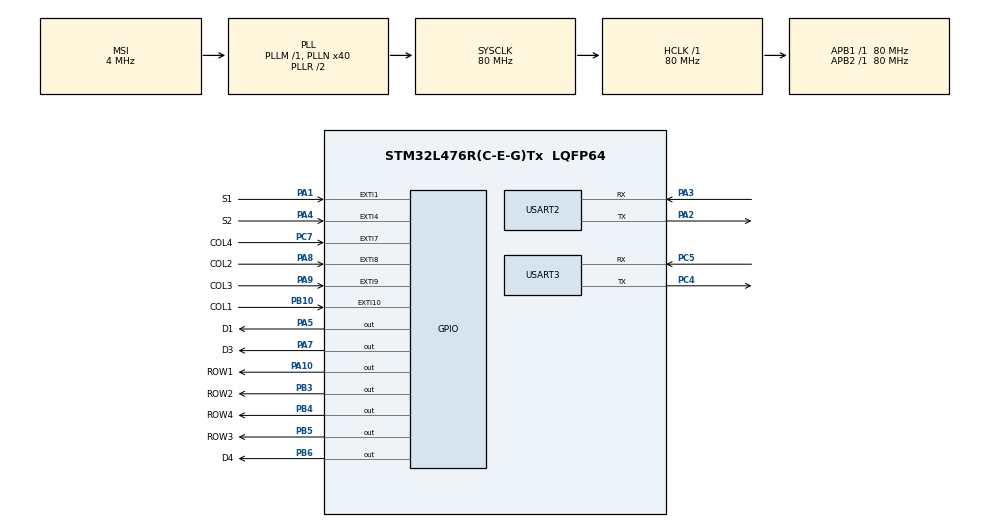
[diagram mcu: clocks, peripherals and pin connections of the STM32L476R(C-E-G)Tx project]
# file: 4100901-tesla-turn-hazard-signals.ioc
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Mcu.Family=STM32L4
Mcu.Name=STM32L476R(C-E-G)Tx
Mcu.Package=LQFP64
NVIC.EXTI15_10_IRQn=true\:0\:0\:false\:false\:true\:true\:true\:true
NVIC.EXTI1_IRQn=true\:0\:0\:false\:false\:true\:true\:true\:true
NVIC.EXTI4_IRQn=true\:0\:0\:false\:false\:true\:true\:true\:true
NVIC.EXTI9_5_IRQn=true\:0\:0\:false\:false\:true\:true\:true\:true
NVIC.PriorityGroup=NVIC_PRIORITYGROUP_4
NVIC.USART2_IRQn=true\:0\:0\:false\:false\:true\:true\:true\:true
NVIC.USART3_IRQn=true\:0\:0\:false\:false\:true\:true\:true\:true
PA1.GPIO_Label=S1
PA1.GPIO_ModeDefaultEXTI=GPIO_MODE_IT_FALLING
PA1.Signal=GPXTI1
PA10.GPIO_Label=ROW1
PA10.PinState=GPIO_PIN_SET
PA10.Signal=GPIO_Output
PA2.Mode=Asynchronous
PA2.Signal=USART2_TX
PA3.Mode=Asynchronous
PA3.Signal=USART2_RX
PA4.GPIO_Label=S2
PA4.GPIO_ModeDefaultEXTI=GPIO_MODE_IT_FALLING
PA4.Signal=GPXTI4
PA5.GPIO_Label=D1
PA5.PinState=GPIO_PIN_SET
PA5.Signal=GPIO_Output
PA7.GPIO_Label=D3
PA7.PinState=GPIO_PIN_SET
PA7.Signal=GPIO_Output
PA8.GPIO_Label=COL2
PA8.GPIO_ModeDefaultEXTI=GPIO_MODE_IT_RISING
PA8.GPIO_PuPd=GPIO_PULLDOWN
PA8.Signal=GPXTI8
PA9.GPIO_Label=COL3
PA9.GPIO_PuPd=GPIO_PULLDOWN
PA9.Signal=GPXTI9
PB10.GPIO_Label=COL1
PB10.GPIO_PuPd=GPIO_PULLDOWN
PB10.Signal=GPXTI10
PB3\ (JTDO-TRACESWO).GPIO_Label=ROW2
PB3\ (JTDO-TRACESWO).PinState=GPIO_PIN_SET
PB3\ (JTDO-TRACESWO).Signal=GPIO_Output
PB4\ (NJTRST).GPIO_Label=ROW4
PB4\ (NJTRST).PinState=GPIO_PIN_SET
PB4\ (NJTRST).Signal=GPIO_Output
PB5.GPIO_Label=ROW3
PB5.PinState=GPIO_PIN_SET
PB5.Signal=GPIO_Output
PB6.GPIO_Label=D4
PB6.PinState=GPIO_PIN_SET
PB6.Signal=GPIO_Output
PC4.Mode=Asynchronous
PC4.Signal=USART3_TX
PC5.Mode=Asynchronous
PC5.Signal=USART3_RX
PC7.GPIO_Label=COL4
PC7.GPIO_PuPd=GPIO_PULLDOWN
PC7.Signal=GPXTI7
ProjectManager.HeapSize=0x200
ProjectManager.StackSize=0x400
ProjectManager.TargetToolchain=STM32CubeIDE
RCC.AHBFreq_Value=80000000
RCC.APB1Freq_Value=80000000
RCC.APB1TimFreq_Value=80000000
RCC.APB2Freq_Value=80000000
RCC.APB2TimFreq_Value=80000000
RCC.CortexFreq_Value=80000000
RCC.HCLKFreq_Value=80000000
RCC.HSE_VALUE=8000000
RCC.HSI_VALUE=16000000
RCC.LSE_VALUE=32768
RCC.MSI_VALUE=4000000
RCC.PLLN=40
RCC.SYSCLKFreq_VALUE=80000000
RCC.SYSCLKSource=RCC_SYSCLKSOURCE_PLLCLK
RCC.VCOOutputFreq_Value=160000000
USART2.VirtualMode-Asynchronous=VM_ASYNC
USART3.VirtualMode-Asynchronous=VM_ASYNC
board=custom

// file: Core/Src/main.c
/* USER CODE BEGIN Header */
/**
  ******************************************************************************
  * @file           : main.c
  * @brief          : Main program body
  ******************************************************************************
  * @attention
  *
  * Copyright (c) 2024 STMicroelectronics.
  * All rights reserved.
  *
  * This software is licensed under terms that can be found in the LICENSE file
  * in the root directory of this software component.
  * If no LICENSE file comes with this software, it is provided AS-IS.
  *
  ******************************************************************************
  */
/* USER CODE END Header */
#include "main.h"

/* USER CODE BEGIN Includes */
#include "ring_buffer.h"
#include "keyboard.h"
/* USER CODE END Includes */

UART_HandleTypeDef huart2;
UART_HandleTypeDef huart3;

/* USER CODE BEGIN PV */
uint32_t left_toggles = 0;
uint32_t left_last_press_tick = 0;

uint8_t data_usart3;
uint8_t data_usart2;

/* control variables for ring buffer in USART1 */
#define CAPACITY_USART3 5
uint8_t mem_usart3[CAPACITY_USART3];
ring_buffer_t rb_usart3;

/* control variables for ring buffer in USART2 */
#define CAPACITY_USART2 10
uint8_t mem_usart2[CAPACITY_USART2];
ring_buffer_t rb_usart2;
/* USER CODE END PV */

void SystemClock_Config(void);
static void MX_GPIO_Init(void);
static void MX_USART2_UART_Init(void);
static void MX_USART3_UART_Init(void);
/* USER CODE BEGIN PFP */
void heartbeat(void);
/* USER CODE END PFP */

/* USER CODE BEGIN 0 */
void HAL_UART_RxCpltCallback(UART_HandleTypeDef *huart)
{
	/* Data received in USART1 */
	if (huart->Instance == USART3) {
		ring_buffer_write(&rb_usart3, data_usart3);
		HAL_UART_Receive_IT(&huart3, &data_usart3, 1);
	}

	/* Data received in USART2 */
	if (huart->Instance == USART2) {
		ring_buffer_write(&rb_usart2, data_usart2); // put the data received in buffer
		HAL_UART_Receive_IT(&huart2, &data_usart2, 1); // enable interrupt to continue receiving
	}
}

void HAL_GPIO_EXTI_Callback(uint16_t GPIO_Pin)
{
	static uint16_t last_pressed = 0xFFFF;
	static uint32_t last_tick = 0;
	if(last_pressed == GPIO_Pin){
		if(HAL_GetTick() < (last_tick+200)){
			return;
		}
	}
	last_pressed = GPIO_Pin;
	last_tick = HAL_GetTick();

	uint8_t pressed = keyboard(GPIO_Pin);
	HAL_UART_Transmit(&huart2,&pressed,1,10);
//	if (GPIO_Pin == S1_Pin) {
//		HAL_UART_Transmit(&huart2, (uint8_t *)"S1\r\n", 4, 10);
//		if (HAL_GetTick() < (left_last_press_tick + 300)) { // if last press was in the last 300ms
//			left_toggles = 0xFFFFFF; // a long time toggling (infinite)
//		} else {
//			left_toggles = 6;
//		}
//		left_last_press_tick = HAL_GetTick();
//	} else if (GPIO_Pin == S2_Pin) {
//		left_toggles = 0;
//	}
}

//void heartbeat(void)
//{
//	static uint32_t heartbeat_tick = 0;
//	if (heartbeat_tick < HAL_GetTick()) {
//		heartbeat_tick = HAL_GetTick() + 500;
//		HAL_GPIO_TogglePin(D1_GPIO_Port, D1_Pin);
//	}
//}
//
//void turn_signal_left(void)
//{
//	static uint32_t turn_toggle_tick = 0;
//	if (turn_toggle_tick < HAL_GetTick()) {
//		if (left_toggles > 0) {
//			turn_toggle_tick = HAL_GetTick() + 500;
//			HAL_GPIO_TogglePin(D3_GPIO_Port, D3_Pin);
//			left_toggles--;
//		} else {
//			HAL_GPIO_WritePin(D3_GPIO_Port, D3_Pin, 1);
//		}
//
//	}
//}
/* USER CODE END 0 */

int main(void)
{

  /* MCU Configuration--------------------------------------------------------*/

  /* Reset of all peripherals, Initializes the Flash interface and the Systick. */
  HAL_Init();

  /* Configure the system clock */
  SystemClock_Config();

  /* Initialize all configured peripherals */
  MX_GPIO_Init();
  MX_USART2_UART_Init();
  MX_USART3_UART_Init();
  /* USER CODE BEGIN 2 */
  /* Initialize ring buffer (control, memory, and capacity) */
  ring_buffer_init(&rb_usart3, mem_usart3, CAPACITY_USART3);
  ring_buffer_init(&rb_usart2, mem_usart2, CAPACITY_USART2);
  /* USER CODE END 2 */

  /* Infinite loop */
  /* USER CODE BEGIN WHILE */
  /* Enable USART Rx interrupt to start receiving */
  HAL_UART_Receive_IT(&huart3, &data_usart3, 1);
  HAL_UART_Receive_IT(&huart2, &data_usart2, 1);
  while (1)
  {
	  uint8_t byte = 0;
	  if (ring_buffer_is_full(&rb_usart2) != 0) {
		  int8_t id_incorrect = 0;
		  char my_id[] = "1056120378";
		  for (uint8_t idx = 0; idx < sizeof(my_id); idx++) {
			  if (ring_buffer_read(&rb_usart2, &byte) != 0) { // 0x20
				  if (byte != my_id[idx]) {
					  id_incorrect = 1;
				  }
			  }
		  }
		  if (id_incorrect == 0) {
			  HAL_UART_Transmit(&huart2, "Felipe F\r\n", 10, 10);
		  } else {
			  HAL_UART_Transmit(&huart2, "Error\r\n", 7, 10);
		  }
	  }
	  if (ring_buffer_is_empty(&rb_usart3) == 0) {
		  uint8_t data;
		  ring_buffer_read(&rb_usart3, &data);
		  HAL_UART_Transmit(&huart2, &data, 1, 10);
	  }
//	  heartbeat();
//	  turn_signal_left();
    /* USER CODE END WHILE */

  }
}

void SystemClock_Config(void)
{
  RCC_OscInitTypeDef RCC_OscInitStruct = {0};
  RCC_ClkInitTypeDef RCC_ClkInitStruct = {0};

  /** Configure the main internal regulator output voltage
  */
  if (HAL_PWREx_ControlVoltageScaling(PWR_REGULATOR_VOLTAGE_SCALE1) != HAL_OK)
  {
    Error_Handler();
  }

  /** Initializes the RCC Oscillators according to the specified parameters
  * in the RCC_OscInitTypeDef structure.
  */
  RCC_OscInitStruct.OscillatorType = RCC_OSCILLATORTYPE_MSI;
  RCC_OscInitStruct.MSIState = RCC_MSI_ON;
  RCC_OscInitStruct.MSICalibrationValue = 0;
  RCC_OscInitStruct.MSIClockRange = RCC_MSIRANGE_6;
  RCC_OscInitStruct.PLL.PLLState = RCC_PLL_ON;
  RCC_OscInitStruct.PLL.PLLSource = RCC_PLLSOURCE_MSI;
  RCC_OscInitStruct.PLL.PLLM = 1;
  RCC_OscInitStruct.PLL.PLLN = 40;
  RCC_OscInitStruct.PLL.PLLP = RCC_PLLP_DIV7;
  RCC_OscInitStruct.PLL.PLLQ = RCC_PLLQ_DIV2;
  RCC_OscInitStruct.PLL.PLLR = RCC_PLLR_DIV2;
  if (HAL_RCC_OscConfig(&RCC_OscInitStruct) != HAL_OK)
  {
    Error_Handler();
  }

  /** Initializes the CPU, AHB and APB buses clocks
  */
  RCC_ClkInitStruct.ClockType = RCC_CLOCKTYPE_HCLK|RCC_CLOCKTYPE_SYSCLK
                              |RCC_CLOCKTYPE_PCLK1|RCC_CLOCKTYPE_PCLK2;
  RCC_ClkInitStruct.SYSCLKSource = RCC_SYSCLKSOURCE_PLLCLK;
  RCC_ClkInitStruct.AHBCLKDivider = RCC_SYSCLK_DIV1;
  RCC_ClkInitStruct.APB1CLKDivider = RCC_HCLK_DIV1;
  RCC_ClkInitStruct.APB2CLKDivider = RCC_HCLK_DIV1;

  if (HAL_RCC_ClockConfig(&RCC_ClkInitStruct, FLASH_LATENCY_4) != HAL_OK)
  {
    Error_Handler();
  }
}

static void MX_USART2_UART_Init(void)
{

  huart2.Instance = USART2;
  huart2.Init.BaudRate = 115200;
  huart2.Init.WordLength = UART_WORDLENGTH_8B;
  huart2.Init.StopBits = UART_STOPBITS_1;
  huart2.Init.Parity = UART_PARITY_NONE;
  huart2.Init.Mode = UART_MODE_TX_RX;
  huart2.Init.HwFlowCtl = UART_HWCONTROL_NONE;
  huart2.Init.OverSampling = UART_OVERSAMPLING_16;
  huart2.Init.OneBitSampling = UART_ONE_BIT_SAMPLE_DISABLE;
  huart2.AdvancedInit.AdvFeatureInit = UART_ADVFEATURE_NO_INIT;
  if (HAL_UART_Init(&huart2) != HAL_OK)
  {
    Error_Handler();
  }

}

static void MX_USART3_UART_Init(void)
{

  huart3.Instance = USART3;
  huart3.Init.BaudRate = 115200;
  huart3.Init.WordLength = UART_WORDLENGTH_8B;
  huart3.Init.StopBits = UART_STOPBITS_1;
  huart3.Init.Parity = UART_PARITY_NONE;
  huart3.Init.Mode = UART_MODE_TX_RX;
  huart3.Init.HwFlowCtl = UART_HWCONTROL_NONE;
  huart3.Init.OverSampling = UART_OVERSAMPLING_16;
  huart3.Init.OneBitSampling = UART_ONE_BIT_SAMPLE_DISABLE;
  huart3.AdvancedInit.AdvFeatureInit = UART_ADVFEATURE_NO_INIT;
  if (HAL_UART_Init(&huart3) != HAL_OK)
  {
    Error_Handler();
  }

}

static void MX_GPIO_Init(void)
{
  GPIO_InitTypeDef GPIO_InitStruct = {0};

  /* GPIO Ports Clock Enable */
  __HAL_RCC_GPIOA_CLK_ENABLE();
  __HAL_RCC_GPIOC_CLK_ENABLE();
  __HAL_RCC_GPIOB_CLK_ENABLE();

  /*Configure GPIO pin Output Level */
  HAL_GPIO_WritePin(GPIOA, D1_Pin|D3_Pin|ROW1_Pin, GPIO_PIN_SET);

  /*Configure GPIO pin Output Level */
  HAL_GPIO_WritePin(GPIOB, ROW2_Pin|ROW4_Pin|ROW3_Pin|D4_Pin, GPIO_PIN_SET);

  /*Configure GPIO pins : S1_Pin S2_Pin */
  GPIO_InitStruct.Pin = S1_Pin|S2_Pin;
  GPIO_InitStruct.Mode = GPIO_MODE_IT_FALLING;
  GPIO_InitStruct.Pull = GPIO_NOPULL;
  HAL_GPIO_Init(GPIOA, &GPIO_InitStruct);

  /*Configure GPIO pins : D1_Pin D3_Pin ROW1_Pin */
  GPIO_InitStruct.Pin = D1_Pin|D3_Pin|ROW1_Pin;
  GPIO_InitStruct.Mode = GPIO_MODE_OUTPUT_PP;
  GPIO_InitStruct.Pull = GPIO_NOPULL;
  GPIO_InitStruct.Speed = GPIO_SPEED_FREQ_LOW;
  HAL_GPIO_Init(GPIOA, &GPIO_InitStruct);

  /*Configure GPIO pin : COL1_Pin */
  GPIO_InitStruct.Pin = COL1_Pin;
  GPIO_InitStruct.Mode = GPIO_MODE_IT_RISING;
  GPIO_InitStruct.Pull = GPIO_PULLDOWN;
  HAL_GPIO_Init(COL1_GPIO_Port, &GPIO_InitStruct);

  /*Configure GPIO pin : COL4_Pin */
  GPIO_InitStruct.Pin = COL4_Pin;
  GPIO_InitStruct.Mode = GPIO_MODE_IT_RISING;
  GPIO_InitStruct.Pull = GPIO_PULLDOWN;
  HAL_GPIO_Init(COL4_GPIO_Port, &GPIO_InitStruct);

  /*Configure GPIO pins : COL2_Pin COL3_Pin */
  GPIO_InitStruct.Pin = COL2_Pin|COL3_Pin;
  GPIO_InitStruct.Mode = GPIO_MODE_IT_RISING;
  GPIO_InitStruct.Pull = GPIO_PULLDOWN;
  HAL_GPIO_Init(GPIOA, &GPIO_InitStruct);

  /*Configure GPIO pins : ROW2_Pin ROW4_Pin ROW3_Pin D4_Pin */
  GPIO_InitStruct.Pin = ROW2_Pin|ROW4_Pin|ROW3_Pin|D4_Pin;
  GPIO_InitStruct.Mode = GPIO_MODE_OUTPUT_PP;
  GPIO_InitStruct.Pull = GPIO_NOPULL;
  GPIO_InitStruct.Speed = GPIO_SPEED_FREQ_LOW;
  HAL_GPIO_Init(GPIOB, &GPIO_InitStruct);

  /* EXTI interrupt init*/
  HAL_NVIC_SetPriority(EXTI1_IRQn, 0, 0);
  HAL_NVIC_EnableIRQ(EXTI1_IRQn);

  HAL_NVIC_SetPriority(EXTI4_IRQn, 0, 0);
  HAL_NVIC_EnableIRQ(EXTI4_IRQn);

  HAL_NVIC_SetPriority(EXTI9_5_IRQn, 0, 0);
  HAL_NVIC_EnableIRQ(EXTI9_5_IRQn);

  HAL_NVIC_SetPriority(EXTI15_10_IRQn, 0, 0);
  HAL_NVIC_EnableIRQ(EXTI15_10_IRQn);

}

void Error_Handler(void)
{
  __disable_irq();
  while (1)
  {
  }
}
